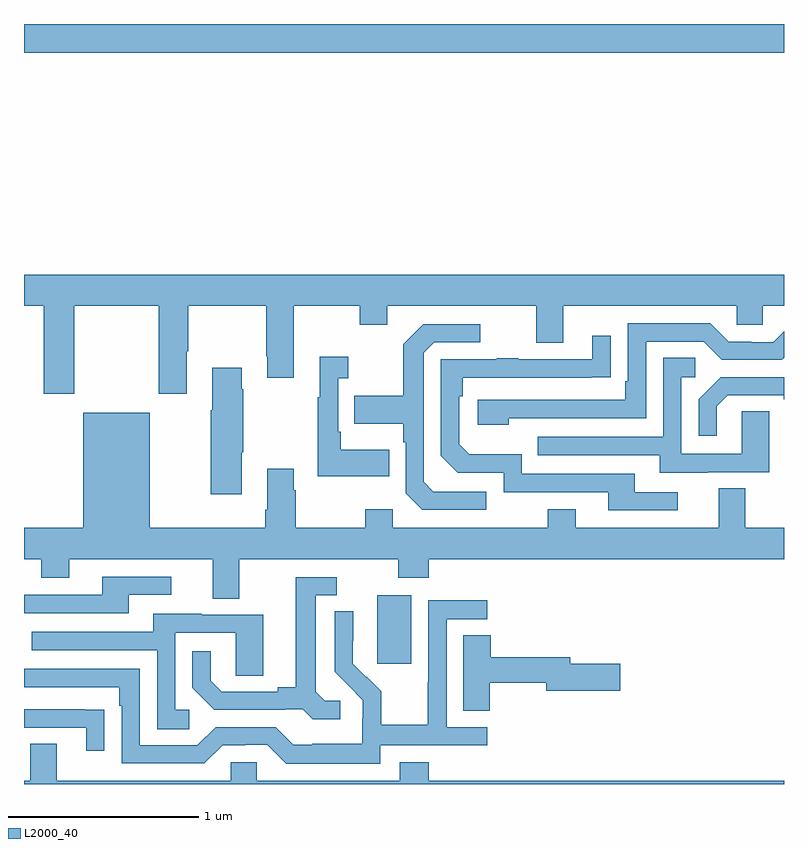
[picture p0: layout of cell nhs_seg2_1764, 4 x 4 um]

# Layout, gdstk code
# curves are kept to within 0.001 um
import gdstk
lib = gdstk.Library(unit=1e-6, precision=1e-09)
def R(c, l, rs):  # rectangles x0, y0, x1, y1
    for r in rs: c.add(gdstk.rectangle(r[:2], r[2:], *l))
def P(c, l, *ps):  # polygons
    for p in ps: c.add(gdstk.Polygon(p, *l))
L2000_40 = (2000, 40)

nhs_seg2_1764 = lib.new_cell('nhs_seg2_1764')
R(nhs_seg2_1764, L2000_40, [(204.86,632.433,205.039,632.794), (203,635.648,207,635.8)])
P(nhs_seg2_1764, L2000_40, [(203,634.316),(203.105,634.316),(203.105,633.855),(203.265,633.855),(203.265,634.316),(203.71,634.316),(203.71,633.855),(203.857,633.855),(203.857,634.078),(203.865,634.078),(203.865,634.316),(204.274,634.316),(204.274,634.051),(204.281,634.051),(204.281,633.939),(204.421,633.939),(204.421,634.316),(204.766,634.316),(204.766,634.217),(204.913,634.217),(204.913,634.316),(205.697,634.316),(205.697,634.122),(205.837,634.122),(205.837,634.316),(206.751,634.316),(206.751,634.218),(206.889,634.218),(206.889,634.316),(207,634.316),(207,634.48),(203,634.48)],
  [(205.55,633.726),(206.274,633.726),(206.274,634.128),(206.577,634.128),(206.673,634.032),(206.988,634.032),(207,634.044),(207,634.182),(206.943,634.125),(206.828,634.125),(206.828,634.128),(206.709,634.128),(206.613,634.224),(206.178,634.224),(206.178,633.919),(206.165,633.919),(206.165,633.822),(205.389,633.822),(205.389,633.692),(205.55,633.692)],
  [(205.432,633.339),(205.155,633.339),(205.104,633.39),(205.104,634.071),(205.158,634.125),(205.402,634.125),(205.402,634.221),(205.101,634.221),(204.996,634.115),(204.996,633.843),(204.739,633.843),(204.739,633.695),(204.996,633.695),(204.996,633.599),(205.008,633.599),(205.008,633.33),(205.095,633.243),(205.432,633.243)],
  [(206.44,633.336),(206.215,633.336),(206.215,633.432),(205.62,633.432),(205.62,633.535),(205.343,633.535),(205.29,633.588),(205.29,633.842),(205.31,633.842),(205.31,633.939),(206.087,633.94),(206.087,634.159),(205.991,634.159),(205.991,634.035),(205.601,634.035),(205.601,634.04),(205.489,634.04),(205.489,634.035),(205.194,634.035),(205.194,633.528),(205.284,633.438),(205.524,633.438),(205.524,633.336),(206.075,633.336),(206.075,633.24),(206.44,633.24)],
  [(204.923,633.559),(204.667,633.559),(204.667,633.655),(204.654,633.655),(204.654,633.935),(204.706,633.935),(204.706,634.048),(204.557,634.048),(204.557,633.835),(204.546,633.835),(204.546,633.419),(204.923,633.419)],
  [(206.599,633.441),(206.923,633.441),(206.923,633.761),(206.778,633.761),(206.778,633.537),(206.46,633.537),(206.46,633.942),(206.533,633.942),(206.533,634.043),(206.364,634.043),(206.364,633.627),(205.705,633.627),(205.705,633.531),(206.345,633.531),(206.345,633.437),(206.599,633.437)],
  [(204.145,633.547),(204.153,633.547),(204.153,633.878),(204.145,633.878),(204.145,633.991),(203.99,633.991),(203.99,633.767),(203.983,633.767),(203.983,633.324),(204.145,633.324)],
  [(206.647,633.789),(206.704,633.846),(206.999,633.846),(206.999,633.824),(207,633.824),(207,633.942),(206.666,633.942),(206.55,633.826),(206.55,633.633),(206.647,633.633)],
  [(204.133,632.984),(204.97,632.984),(204.97,632.885),(205.13,632.885),(205.13,632.984),(207,632.984),(207,633.148),(206.797,633.148),(206.797,633.356),(206.657,633.356),(206.657,633.148),(205.903,633.148),(205.903,633.247),(205.756,633.247),(205.756,633.148),(204.942,633.148),(204.942,633.247),(204.796,633.247),(204.796,633.148),(204.429,633.148),(204.429,633.347),(204.421,633.347),(204.421,633.46),(204.281,633.46),(204.281,633.244),(204.269,633.244),(204.269,633.148),(203.662,633.148),(203.662,633.754),(203.312,633.754),(203.312,633.148),(203,633.148),(203,632.984),(203.092,632.984),(203.092,632.885),(203.239,632.885),(203.239,632.984),(203.993,632.984),(203.993,632.776),(204.133,632.776)],
  [(203.551,632.796),(203.776,632.796),(203.776,632.892),(203.411,632.892),(203.411,632.796),(203,632.796),(203,632.7),(203.551,632.7)],
  [(204.664,632.238),(204.582,632.238),(204.535,632.285),(204.535,632.793),(204.646,632.793),(204.646,632.889),(204.431,632.889),(204.431,632.309),(204.335,632.309),(204.335,632.286),(204.04,632.286),(203.983,632.343),(203.983,632.5),(203.886,632.5),(203.886,632.306),(204.002,632.19),(204.374,632.19),(204.374,632.193),(204.468,632.193),(204.52,632.141),(204.664,632.141)],
  [(204.876,632.004),(205.438,632.004),(205.438,632.1),(205.224,632.1),(205.224,632.667),(205.438,632.667),(205.438,632.766),(205.128,632.766),(205.128,632.336),(205.126,632.336),(205.126,632.113),(204.881,632.113),(204.881,632.287),(204.804,632.364),(204.801,632.361),(204.731,632.432),(204.732,632.708),(204.636,632.708),(204.636,632.39),(204.782,632.242),(204.782,632.145),(204.78,632.145),(204.78,632.011),(204.517,632.011),(204.517,632.007),(204.417,632.007),(204.324,632.1),(204.009,632.1),(203.913,632.004),(203.61,632.004),(203.61,632.406),(203,632.406),(203,632.31),(203.501,632.31),(203.501,632.213),(203.514,632.213),(203.514,631.908),(203.949,631.908),(204.045,632.004),(204.164,632.004),(204.164,632.007),(204.279,632.007),(204.379,631.907),(204.876,631.907)],
  [(203.869,632.19),(203.796,632.19),(203.796,632.595),(204.114,632.595),(204.114,632.371),(204.259,632.371),(204.259,632.691),(203.935,632.691),(203.935,632.695),(203.681,632.695),(203.681,632.601),(203.041,632.601),(203.041,632.505),(203.7,632.505),(203.7,632.089),(203.869,632.089)],
  [(205.452,632.332),(205.748,632.332),(205.748,632.29),(206.137,632.29),(206.137,632.432),(205.876,632.432),(205.876,632.468),(205.457,632.468),(205.457,632.582),(205.313,632.582),(205.313,632.185),(205.452,632.185)],
  [(203.423,632.192),(203.321,632.192),(203.321,632.193),(203,632.193),(203,632.097),(203.327,632.097),(203.327,631.974),(203.423,631.974)],
  [(207,631.816),(205.13,631.816),(205.13,631.915),(204.977,631.915),(204.977,631.816),(204.225,631.816),(204.225,631.914),(204.087,631.914),(204.087,631.816),(203.173,631.816),(203.173,632.011),(203.033,632.011),(203.033,631.816),(203,631.816),(203,631.8),(207,631.8)])

lib.write_gds('nhs_seg2_1764.gds')
